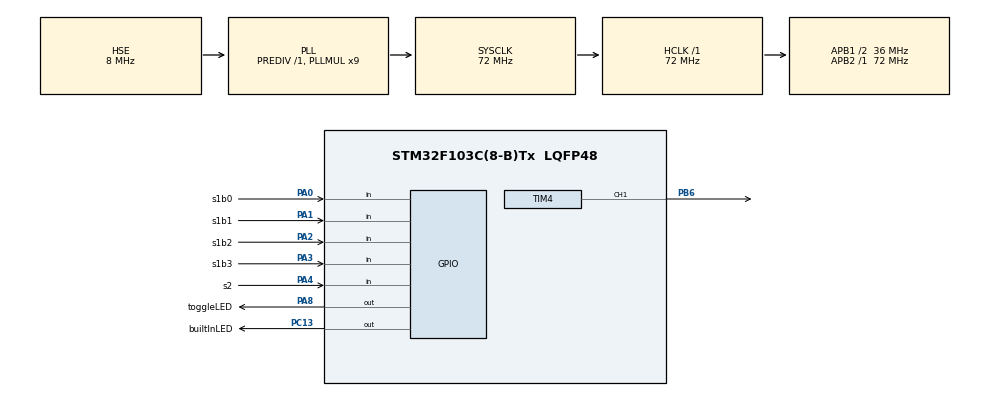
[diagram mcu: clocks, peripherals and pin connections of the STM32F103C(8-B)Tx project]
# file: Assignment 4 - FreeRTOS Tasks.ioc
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FREERTOS.Tasks01=blinkTask,24,128,StartBlinkTask,Default,NULL,Dynamic,NULL,NULL;PWMTask,8,128,StartPWMTask,Default,NULL,Dynamic,NULL,NULL;ToggleTask,8,128,StartToggleTask,Default,NULL,Dynamic,NULL,NULL
Mcu.Family=STM32F1
Mcu.Name=STM32F103C(8-B)Tx
Mcu.Package=LQFP48
NVIC.PriorityGroup=NVIC_PRIORITYGROUP_4
PA0-WKUP.GPIO_Label=s1b0
PA0-WKUP.Signal=GPIO_Input
PA1.GPIO_Label=s1b1
PA1.Signal=GPIO_Input
PA2.GPIO_Label=s1b2
PA2.Signal=GPIO_Input
PA3.GPIO_Label=s1b3
PA3.Signal=GPIO_Input
PA4.GPIO_Label=s2
PA4.Signal=GPIO_Input
PA8.GPIO_Label=toggleLED
PA8.Signal=GPIO_Output
PB6.Signal=S_TIM4_CH1
PC13-TAMPER-RTC.GPIO_Label=builtInLED
PC13-TAMPER-RTC.Signal=GPIO_Output
PD0-OSC_IN.Mode=HSE-External-Oscillator
PD0-OSC_IN.Signal=RCC_OSC_IN
PD1-OSC_OUT.Mode=HSE-External-Oscillator
PD1-OSC_OUT.Signal=RCC_OSC_OUT
ProjectManager.HeapSize=0x200
ProjectManager.StackSize=0x400
ProjectManager.TargetToolchain=STM32CubeIDE
RCC.AHBFreq_Value=72000000
RCC.APB1CLKDivider=RCC_HCLK_DIV2
RCC.APB1Freq_Value=36000000
RCC.APB1TimFreq_Value=72000000
RCC.APB2Freq_Value=72000000
RCC.APB2TimFreq_Value=72000000
RCC.HCLKFreq_Value=72000000
RCC.PLLMUL=RCC_PLL_MUL9
RCC.PLLSourceVirtual=RCC_PLLSOURCE_HSE
RCC.SYSCLKFreq_VALUE=72000000
RCC.SYSCLKSource=RCC_SYSCLKSOURCE_PLLCLK
RCC.USBFreq_Value=72000000
SH.S_TIM4_CH1.0=TIM4_CH1,PWM Generation1 CH1
TIM4.Channel-PWM\ Generation1\ CH1=TIM_CHANNEL_1
TIM4.OC1Preload_PWM=DISABLE
TIM4.Prescaler=0
VP_FREERTOS_VS_CMSIS_V2.Mode=CMSIS_V2
VP_SYS_VS_ND.Mode=No_Debug
board=custom

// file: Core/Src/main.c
/* USER CODE BEGIN Header */
/**
  ******************************************************************************
  * @file           : main.c
  * @brief          : Main program body
  ******************************************************************************
  * @attention
  *
  * Copyright (c) 2022 STMicroelectronics.
  * All rights reserved.
  *
  * This software is licensed under terms that can be found in the LICENSE file
  * in the root directory of this software component.
  * If no LICENSE file comes with this software, it is provided AS-IS.
  *
  ******************************************************************************
  */
/* USER CODE END Header */
#include "main.h"
#include "cmsis_os.h"

TIM_HandleTypeDef htim4;

/* Definitions for blinkTask */
osThreadId_t blinkTaskHandle;
const osThreadAttr_t blinkTask_attributes = {
  .name = "blinkTask",
  .stack_size = 128 * 4,
  .priority = (osPriority_t) osPriorityNormal,
};
/* Definitions for PWMTask */
osThreadId_t PWMTaskHandle;
const osThreadAttr_t PWMTask_attributes = {
  .name = "PWMTask",
  .stack_size = 128 * 4,
  .priority = (osPriority_t) osPriorityLow,
};
/* Definitions for ToggleTask */
osThreadId_t ToggleTaskHandle;
const osThreadAttr_t ToggleTask_attributes = {
  .name = "ToggleTask",
  .stack_size = 128 * 4,
  .priority = (osPriority_t) osPriorityLow,
};

void SystemClock_Config(void);
static void MX_GPIO_Init(void);
static void MX_TIM4_Init(void);
void StartBlinkTask(void *argument);
void StartPWMTask(void *argument);
void StartToggleTask(void *argument);

int main(void)
{

  /* MCU Configuration--------------------------------------------------------*/

  /* Reset of all peripherals, Initializes the Flash interface and the Systick. */
  HAL_Init();

  /* Configure the system clock */
  SystemClock_Config();

  /* Initialize all configured peripherals */
  MX_GPIO_Init();
  MX_TIM4_Init();
  /* USER CODE BEGIN 2 */
  HAL_TIM_Base_Start(&htim4);
  HAL_TIM_PWM_Start(&htim4, TIM_CHANNEL_1);
  /* USER CODE END 2 */

  /* Init scheduler */
  osKernelInitialize();

  /* Create the thread(s) */
  /* creation of blinkTask */
  blinkTaskHandle = osThreadNew(StartBlinkTask, NULL, &blinkTask_attributes);

  /* creation of PWMTask */
  PWMTaskHandle = osThreadNew(StartPWMTask, NULL, &PWMTask_attributes);

  /* creation of ToggleTask */
  ToggleTaskHandle = osThreadNew(StartToggleTask, NULL, &ToggleTask_attributes);

  /* Start scheduler */
  osKernelStart();

  /* We should never get here as control is now taken by the scheduler */
  /* Infinite loop */
  while (1)
  {

  }
}

void SystemClock_Config(void)
{
  RCC_OscInitTypeDef RCC_OscInitStruct = {0};
  RCC_ClkInitTypeDef RCC_ClkInitStruct = {0};

  /** Initializes the RCC Oscillators according to the specified parameters
  * in the RCC_OscInitTypeDef structure.
  */
  RCC_OscInitStruct.OscillatorType = RCC_OSCILLATORTYPE_HSE;
  RCC_OscInitStruct.HSEState = RCC_HSE_ON;
  RCC_OscInitStruct.HSEPredivValue = RCC_HSE_PREDIV_DIV1;
  RCC_OscInitStruct.HSIState = RCC_HSI_ON;
  RCC_OscInitStruct.PLL.PLLState = RCC_PLL_ON;
  RCC_OscInitStruct.PLL.PLLSource = RCC_PLLSOURCE_HSE;
  RCC_OscInitStruct.PLL.PLLMUL = RCC_PLL_MUL9;
  if (HAL_RCC_OscConfig(&RCC_OscInitStruct) != HAL_OK)
  {
    Error_Handler();
  }

  /** Initializes the CPU, AHB and APB buses clocks
  */
  RCC_ClkInitStruct.ClockType = RCC_CLOCKTYPE_HCLK|RCC_CLOCKTYPE_SYSCLK
                              |RCC_CLOCKTYPE_PCLK1|RCC_CLOCKTYPE_PCLK2;
  RCC_ClkInitStruct.SYSCLKSource = RCC_SYSCLKSOURCE_PLLCLK;
  RCC_ClkInitStruct.AHBCLKDivider = RCC_SYSCLK_DIV1;
  RCC_ClkInitStruct.APB1CLKDivider = RCC_HCLK_DIV2;
  RCC_ClkInitStruct.APB2CLKDivider = RCC_HCLK_DIV1;

  if (HAL_RCC_ClockConfig(&RCC_ClkInitStruct, FLASH_LATENCY_2) != HAL_OK)
  {
    Error_Handler();
  }
}

static void MX_TIM4_Init(void)
{

  TIM_MasterConfigTypeDef sMasterConfig = {0};
  TIM_OC_InitTypeDef sConfigOC = {0};

  htim4.Instance = TIM4;
  htim4.Init.Prescaler = 0;
  htim4.Init.CounterMode = TIM_COUNTERMODE_UP;
  htim4.Init.Period = 65535;
  htim4.Init.ClockDivision = TIM_CLOCKDIVISION_DIV1;
  htim4.Init.AutoReloadPreload = TIM_AUTORELOAD_PRELOAD_DISABLE;
  if (HAL_TIM_PWM_Init(&htim4) != HAL_OK)
  {
    Error_Handler();
  }
  sMasterConfig.MasterOutputTrigger = TIM_TRGO_RESET;
  sMasterConfig.MasterSlaveMode = TIM_MASTERSLAVEMODE_DISABLE;
  if (HAL_TIMEx_MasterConfigSynchronization(&htim4, &sMasterConfig) != HAL_OK)
  {
    Error_Handler();
  }
  sConfigOC.OCMode = TIM_OCMODE_PWM1;
  sConfigOC.Pulse = 0;
  sConfigOC.OCPolarity = TIM_OCPOLARITY_HIGH;
  sConfigOC.OCFastMode = TIM_OCFAST_DISABLE;
  if (HAL_TIM_PWM_ConfigChannel(&htim4, &sConfigOC, TIM_CHANNEL_1) != HAL_OK)
  {
    Error_Handler();
  }
  __HAL_TIM_DISABLE_OCxPRELOAD(&htim4, TIM_CHANNEL_1);
  HAL_TIM_MspPostInit(&htim4);

}

static void MX_GPIO_Init(void)
{
  GPIO_InitTypeDef GPIO_InitStruct = {0};

  /* GPIO Ports Clock Enable */
  __HAL_RCC_GPIOC_CLK_ENABLE();
  __HAL_RCC_GPIOD_CLK_ENABLE();
  __HAL_RCC_GPIOA_CLK_ENABLE();
  __HAL_RCC_GPIOB_CLK_ENABLE();

  /*Configure GPIO pin Output Level */
  HAL_GPIO_WritePin(builtInLED_GPIO_Port, builtInLED_Pin, GPIO_PIN_RESET);

  /*Configure GPIO pin Output Level */
  HAL_GPIO_WritePin(toggleLED_GPIO_Port, toggleLED_Pin, GPIO_PIN_RESET);

  /*Configure GPIO pin : builtInLED_Pin */
  GPIO_InitStruct.Pin = builtInLED_Pin;
  GPIO_InitStruct.Mode = GPIO_MODE_OUTPUT_PP;
  GPIO_InitStruct.Pull = GPIO_NOPULL;
  GPIO_InitStruct.Speed = GPIO_SPEED_FREQ_LOW;
  HAL_GPIO_Init(builtInLED_GPIO_Port, &GPIO_InitStruct);

  /*Configure GPIO pins : s1b0_Pin s1b1_Pin s1b2_Pin s1b3_Pin
                           s2_Pin */
  GPIO_InitStruct.Pin = s1b0_Pin|s1b1_Pin|s1b2_Pin|s1b3_Pin
                          |s2_Pin;
  GPIO_InitStruct.Mode = GPIO_MODE_INPUT;
  GPIO_InitStruct.Pull = GPIO_NOPULL;
  HAL_GPIO_Init(GPIOA, &GPIO_InitStruct);

  /*Configure GPIO pin : toggleLED_Pin */
  GPIO_InitStruct.Pin = toggleLED_Pin;
  GPIO_InitStruct.Mode = GPIO_MODE_OUTPUT_PP;
  GPIO_InitStruct.Pull = GPIO_NOPULL;
  GPIO_InitStruct.Speed = GPIO_SPEED_FREQ_LOW;
  HAL_GPIO_Init(toggleLED_GPIO_Port, &GPIO_InitStruct);

}

void StartBlinkTask(void *argument)
{
  /* USER CODE BEGIN 5 */
  /* Infinite loop */
  for(;;)
  {
	HAL_GPIO_TogglePin(builtInLED_GPIO_Port,builtInLED_Pin);
    osDelay(500);
  }
  /* USER CODE END 5 */
}

void StartPWMTask(void *argument)
{
  /* USER CODE BEGIN StartPWMTask */
  unsigned char bit0 = 0, bit1 = 0, bit2 = 0, bit3 = 0;
  unsigned char count = 0;
  /* Infinite loop */
  for(;;)
  {
	if (HAL_GPIO_ReadPin(GPIOA, s1b0_Pin)){
	  bit0 = 1;
	} else bit0 = 0;
	if (HAL_GPIO_ReadPin(GPIOA, s1b1_Pin)){
	  bit1 = 2;
	} else bit1 = 0;
	if (HAL_GPIO_ReadPin(GPIOA, s1b2_Pin)){
	  bit2 = 4;
	} else bit2 = 0;
	if (HAL_GPIO_ReadPin(GPIOA, s1b3_Pin)){
	  bit3 = 8;
	} else bit3 = 0;
	count = bit0 + bit1 + bit2 + bit3;
	uint16_t value = count*4096;
	__HAL_TIM_SetCompare(&htim4, TIM_CHANNEL_1, value);
    osDelay(1000);
  }
  /* USER CODE END StartPWMTask */
}

void StartToggleTask(void *argument)
{
  /* USER CODE BEGIN StartToggleTask */
  /* Infinite loop */
  for(;;)
  {
	  if (HAL_GPIO_ReadPin(s2_GPIO_Port,s2_Pin)){
		  HAL_GPIO_WritePin(toggleLED_GPIO_Port,toggleLED_Pin,GPIO_PIN_RESET);
	  } else
		  HAL_GPIO_WritePin(toggleLED_GPIO_Port,toggleLED_Pin,GPIO_PIN_SET);
    osDelay(100);
  }
  /* USER CODE END StartToggleTask */
}

void Error_Handler(void)
{
  __disable_irq();
  while (1)
  {
  }
}
